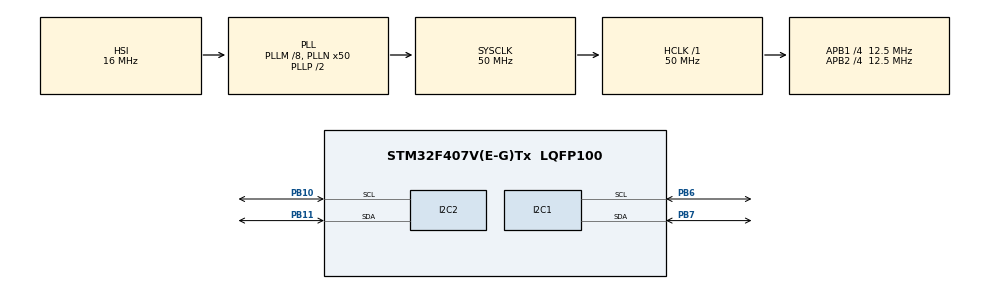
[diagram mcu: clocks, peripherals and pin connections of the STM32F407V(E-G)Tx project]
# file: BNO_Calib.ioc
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Mcu.Family=STM32F4
Mcu.Name=STM32F407V(E-G)Tx
Mcu.Package=LQFP100
NVIC.PriorityGroup=NVIC_PRIORITYGROUP_0
PA13.Mode=Trace_Asynchronous_SW
PA13.Signal=SYS_JTMS-SWDIO
PA14.Mode=Trace_Asynchronous_SW
PA14.Signal=SYS_JTCK-SWCLK
PB10.Mode=I2C
PB10.Signal=I2C2_SCL
PB11.Mode=I2C
PB11.Signal=I2C2_SDA
PB3.Mode=Trace_Asynchronous_SW
PB3.Signal=SYS_JTDO-SWO
PB6.Mode=I2C
PB6.Signal=I2C1_SCL
PB7.Mode=I2C
PB7.Signal=I2C1_SDA
ProjectManager.HeapSize=0x200
ProjectManager.StackSize=0x400
ProjectManager.TargetToolchain=STM32CubeIDE
RCC.48MHZClocksFreq_Value=14285714.285714285
RCC.AHBFreq_Value=50000000
RCC.APB1CLKDivider=RCC_HCLK_DIV4
RCC.APB1Freq_Value=12500000
RCC.APB1TimFreq_Value=25000000
RCC.APB2CLKDivider=RCC_HCLK_DIV4
RCC.APB2Freq_Value=12500000
RCC.APB2TimFreq_Value=25000000
RCC.CortexFreq_Value=50000000
RCC.HCLKFreq_Value=50000000
RCC.HSE_VALUE=8000000
RCC.HSI_VALUE=16000000
RCC.LSE_VALUE=32768
RCC.PLLM=8
RCC.PLLN=50
RCC.PLLQ=7
RCC.SYSCLKFreq_VALUE=50000000
RCC.SYSCLKSource=RCC_SYSCLKSOURCE_PLLCLK
RCC.VCOOutputFreq_Value=100000000
board=STM32F407G-DISC1

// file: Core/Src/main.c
/* USER CODE BEGIN Header */
/**
  ******************************************************************************
  * @file           : main.c
  * @brief          : Main program body
  ******************************************************************************
  * @attention
  *
  * Copyright (c) 2026 STMicroelectronics.
  * All rights reserved.
  *
  * This software is licensed under terms that can be found in the LICENSE file
  * in the root directory of this software component.
  * If no LICENSE file comes with this software, it is provided AS-IS.
  *
  ******************************************************************************
  */
/* USER CODE END Header */
#include "main.h"

/* USER CODE BEGIN Includes */
#include "bno055_func_struct.h"
#include "bno055.h"
#include <stdio.h>
#include <string.h>
/* USER CODE END Includes */

I2C_HandleTypeDef hi2c1;
I2C_HandleTypeDef hi2c2;

void SystemClock_Config(void);
static void MX_GPIO_Init(void);
static void MX_I2C2_Init(void);
static void MX_I2C1_Init(void);

int main(void)
{

  /* MCU Configuration--------------------------------------------------------*/

  /* Reset of all peripherals, Initializes the Flash interface and the Systick. */
  HAL_Init();

  /* Configure the system clock */
  SystemClock_Config();

  /* Initialize all configured peripherals */
  MX_GPIO_Init();
  MX_I2C2_Init();
  MX_I2C1_Init();
  /* USER CODE BEGIN 2 */
  BNO055Init_TypeDef_t bno = {
      /* --- Haberleşme Ayarları --- */
      .i2cHandler       = &hi2c2,
      .i2cAddress       = BNO055_I2C_ADDR_LOW,
      .i2cTimeout       = 100,

      /* --- Callback Fonksiyonları --- */
      .delayCallback    = HAL_Delay,           // RTOS yoksa düz HAL_Delay
      .dmaRxCallback    = NULL,                // Kalibrasyon projesinde DMA'ya gerek yok, NULL geç
      .dmaErrorCallback = NULL,

      /* --- Çalışma Modları --- */
      .powerMode        = BNO_PWR_MODE_NORMAL,
      .operationMode    = BNO_MODE_NDOF,       // Kalibrasyon için NDOF şart
      .externalCrystal  = BNO_CLK_INTERNAL,    // Genelde dahili osilatör kullanılır

      /* --- Eksen ve Birim Ayarları --- */
      .axisRemap        = BNO_AXIS_REMAP_P0,   // Default yatay montaj
      .accelUnit        = BNO_ACC_UNIT_MS2,
      .gyroUnit         = BNO_GYRO_UNIT_DPS,
      .eulerUnit        = BNO_EULER_UNIT_DEG,
      .tempUnit         = BNO_TEMP_UNIT_C,
      .temperature      = TEMPOK,

      /* --- Kalibrasyon Hafızası --- */
      .useStoredCalibration = 0,               // Şu an yeni değerleri alacağımız için 0
      .calibrationData      = {0}              // İçini boş bırakıyoruz
  };
	if(BNO055_Init(&bno) != BNO_OK) {
	    printf("BNO Baslatilamadi!\r\n");
	    while(1);
	}
	BNO055_CalibData_t calibValues;
	uint8_t offsetBuffer[22];
  /* USER CODE END 2 */

  /* Infinite loop */
  /* USER CODE BEGIN WHILE */
  while (1)
  {
	  // 1. Senin kütüphanendeki fonksiyonla durumları oku
	      BNO055_ReadCalibration(&bno, &calibValues);

	      // 2. Konsola anlık durumu bas
	      printf("CALIB -> SYS:%d | G:%d | A:%d | M:%d \r",
	              calibValues.calib_sys, calibValues.calib_gyro,
	              calibValues.calib_acc, calibValues.calib_mag);

	      // 3. Hepsi 3 oldu mu kontrol et (Senin fonksiyona göre 1 dönmesi lazım)
	      if (calibValues.calib_mag == 3 && calibValues.calib_gyro == 3 && calibValues.calib_acc == 3) {

	          printf("\n\n>>> TAM KALIBRASYON SAGLANDI! <<<\n");

	          // Senin kütüphanendeki offset okuma fonksiyonu
	          if(BNO055_GetCalibrationOffsets(&bno, offsetBuffer) == BNO_OK) {

	              printf("Aşağıdaki diziyi kopyalayıp ana projendeki bno_fixed_offsets dizisine yapıstır:\n\n");
	              printf("uint8_t bno_fixed_offsets[22] = {");
	              for(int i = 0; i < 22; i++) {
	                  printf("0x%02X%s", offsetBuffer[i], (i == 21) ? "" : ", ");
	              }
	              printf("};\n\n");
	          }

	          while(1); // İşlem bitti, kilitlen (veya LED yak)
	      }
	      HAL_Delay(200);
    /* USER CODE END WHILE */

  }
}

void SystemClock_Config(void)
{
  RCC_OscInitTypeDef RCC_OscInitStruct = {0};
  RCC_ClkInitTypeDef RCC_ClkInitStruct = {0};

  /** Configure the main internal regulator output voltage
  */
  __HAL_RCC_PWR_CLK_ENABLE();
  __HAL_PWR_VOLTAGESCALING_CONFIG(PWR_REGULATOR_VOLTAGE_SCALE1);

  /** Initializes the RCC Oscillators according to the specified parameters
  * in the RCC_OscInitTypeDef structure.
  */
  RCC_OscInitStruct.OscillatorType = RCC_OSCILLATORTYPE_HSI;
  RCC_OscInitStruct.HSIState = RCC_HSI_ON;
  RCC_OscInitStruct.HSICalibrationValue = RCC_HSICALIBRATION_DEFAULT;
  RCC_OscInitStruct.PLL.PLLState = RCC_PLL_ON;
  RCC_OscInitStruct.PLL.PLLSource = RCC_PLLSOURCE_HSI;
  RCC_OscInitStruct.PLL.PLLM = 8;
  RCC_OscInitStruct.PLL.PLLN = 50;
  RCC_OscInitStruct.PLL.PLLP = RCC_PLLP_DIV2;
  RCC_OscInitStruct.PLL.PLLQ = 7;
  if (HAL_RCC_OscConfig(&RCC_OscInitStruct) != HAL_OK)
  {
    Error_Handler();
  }

  /** Initializes the CPU, AHB and APB buses clocks
  */
  RCC_ClkInitStruct.ClockType = RCC_CLOCKTYPE_HCLK|RCC_CLOCKTYPE_SYSCLK
                              |RCC_CLOCKTYPE_PCLK1|RCC_CLOCKTYPE_PCLK2;
  RCC_ClkInitStruct.SYSCLKSource = RCC_SYSCLKSOURCE_PLLCLK;
  RCC_ClkInitStruct.AHBCLKDivider = RCC_SYSCLK_DIV1;
  RCC_ClkInitStruct.APB1CLKDivider = RCC_HCLK_DIV4;
  RCC_ClkInitStruct.APB2CLKDivider = RCC_HCLK_DIV4;

  if (HAL_RCC_ClockConfig(&RCC_ClkInitStruct, FLASH_LATENCY_1) != HAL_OK)
  {
    Error_Handler();
  }
}

static void MX_I2C1_Init(void)
{

  hi2c1.Instance = I2C1;
  hi2c1.Init.ClockSpeed = 100000;
  hi2c1.Init.DutyCycle = I2C_DUTYCYCLE_2;
  hi2c1.Init.OwnAddress1 = 0;
  hi2c1.Init.AddressingMode = I2C_ADDRESSINGMODE_7BIT;
  hi2c1.Init.DualAddressMode = I2C_DUALADDRESS_DISABLE;
  hi2c1.Init.OwnAddress2 = 0;
  hi2c1.Init.GeneralCallMode = I2C_GENERALCALL_DISABLE;
  hi2c1.Init.NoStretchMode = I2C_NOSTRETCH_DISABLE;
  if (HAL_I2C_Init(&hi2c1) != HAL_OK)
  {
    Error_Handler();
  }

}

static void MX_I2C2_Init(void)
{

  hi2c2.Instance = I2C2;
  hi2c2.Init.ClockSpeed = 100000;
  hi2c2.Init.DutyCycle = I2C_DUTYCYCLE_2;
  hi2c2.Init.OwnAddress1 = 0;
  hi2c2.Init.AddressingMode = I2C_ADDRESSINGMODE_7BIT;
  hi2c2.Init.DualAddressMode = I2C_DUALADDRESS_DISABLE;
  hi2c2.Init.OwnAddress2 = 0;
  hi2c2.Init.GeneralCallMode = I2C_GENERALCALL_DISABLE;
  hi2c2.Init.NoStretchMode = I2C_NOSTRETCH_DISABLE;
  if (HAL_I2C_Init(&hi2c2) != HAL_OK)
  {
    Error_Handler();
  }

}

static void MX_GPIO_Init(void)
{

  /* GPIO Ports Clock Enable */
  __HAL_RCC_GPIOB_CLK_ENABLE();
  __HAL_RCC_GPIOA_CLK_ENABLE();

}

/* USER CODE BEGIN 4 */

int _write(int file, char *ptr, int len)
{
    int i;
    for (i = 0; i < len; i++)
    {
        ITM_SendChar(*ptr++);
    }
    return len;
}
/* USER CODE END 4 */

void Error_Handler(void)
{
  __disable_irq();
  while (1)
  {
  }
}
